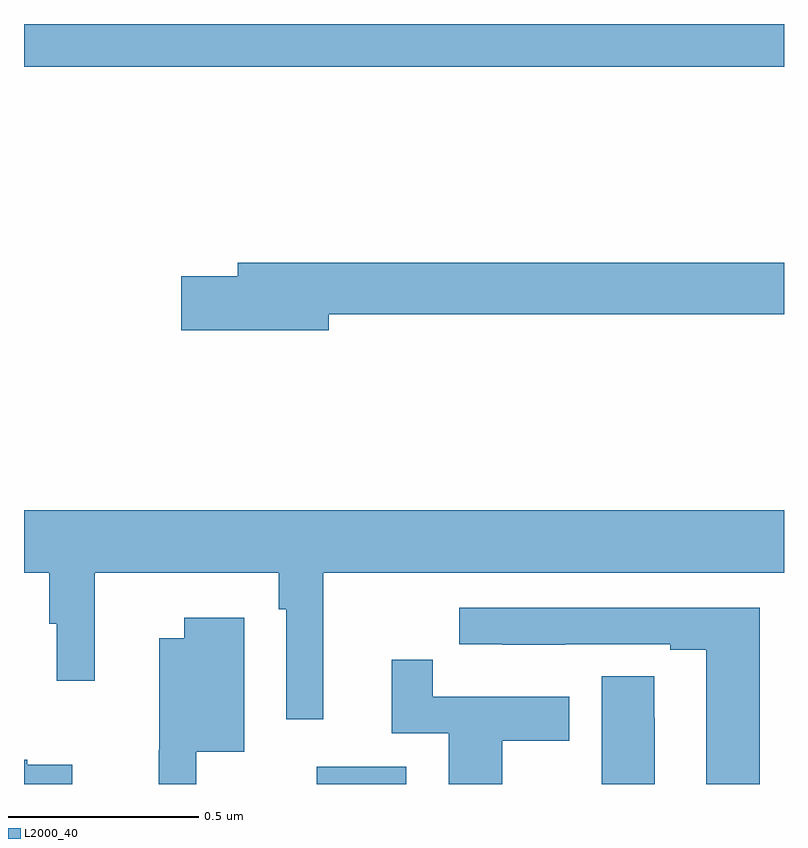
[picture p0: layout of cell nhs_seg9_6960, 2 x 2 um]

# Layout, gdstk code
import gdstk
lib = gdstk.Library(unit=1e-6, precision=1e-09)
def R(c, l, rs):  # rectangles x0, y0, x1, y1
    for r in rs: c.add(gdstk.rectangle(r[:2], r[2:], *l))
def P(c, l, *ps):  # polygons
    for p in ps: c.add(gdstk.Polygon(p, *l))
L2000_40 = (2000, 40)

nhs_seg9_6960 = lib.new_cell('nhs_seg9_6960')
R(nhs_seg9_6960, L2000_40, [(198.77,1226.5,199.006,1226.545), (198,1228.388,200,1228.5)])
P(nhs_seg9_6960, L2000_40, [(198.802,1227.736),(200,1227.736),(200,1227.872),(198.563,1227.872),(198.563,1227.836),(198.414,1227.836),(198.414,1227.694),(198.802,1227.694)],
  [(198.788,1227.056),(200,1227.056),(200,1227.22),(198,1227.22),(198,1227.056),(198.067,1227.056),(198.067,1226.922),(198.086,1226.922),(198.086,1226.772),(198.186,1226.772),(198.186,1227.056),(198.67,1227.056),(198.67,1226.96),(198.69,1226.96),(198.69,1226.67),(198.788,1226.67)],
  [(199.936,1226.964),(199.146,1226.964),(199.146,1226.868),(199.258,1226.868),(199.258,1226.867),(199.424,1226.867),(199.424,1226.868),(199.7,1226.868),(199.7,1226.853),(199.796,1226.853),(199.796,1226.5),(199.936,1226.5)],
  [(198.453,1226.585),(198.58,1226.585),(198.58,1226.938),(198.422,1226.938),(198.422,1226.884),(198.356,1226.884),(198.356,1226.589),(198.355,1226.589),(198.355,1226.5),(198.453,1226.5)],
  [(199.258,1226.614),(199.435,1226.614),(199.435,1226.73),(199.076,1226.73),(199.076,1226.827),(198.968,1226.827),(198.968,1226.634),(199.118,1226.634),(199.118,1226.5),(199.258,1226.5)],
  [(199.66,1226.675),(199.659,1226.675),(199.659,1226.783),(199.52,1226.783),(199.52,1226.5),(199.66,1226.5)],
  [(198.127,1226.551),(198.009,1226.551),(198.009,1226.564),(198,1226.564),(198,1226.5),(198.127,1226.5)])

lib.write_gds('nhs_seg9_6960.gds')
